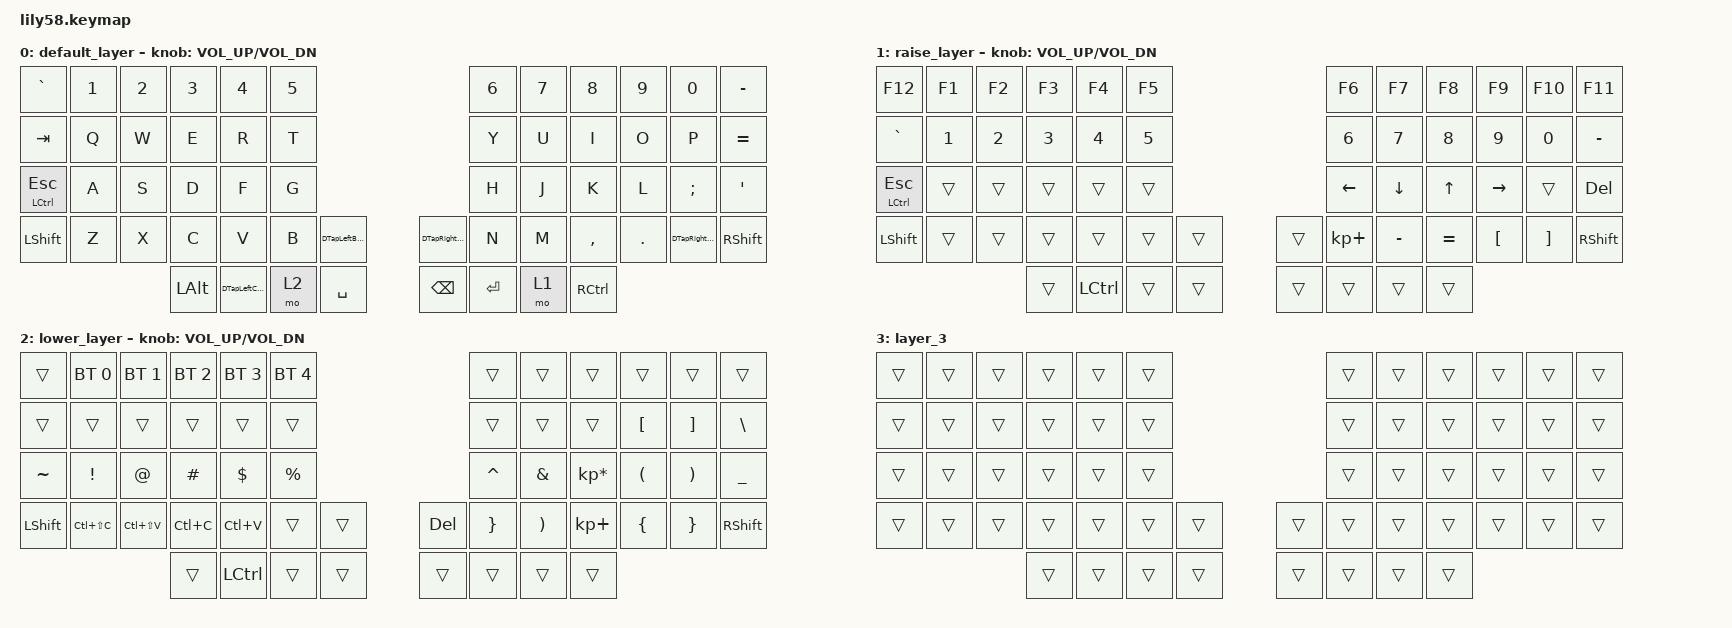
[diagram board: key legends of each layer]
/*
 * Copyright (c) 2020 The ZMK Contributors
 *
 * SPDX-License-Identifier: MIT
 */

#include <behaviors.dtsi>
#include <dt-bindings/zmk/bt.h>
#include <dt-bindings/zmk/keys.h>

/ {
    // Combo keys are a way to combine multiple keypresses to output a different key.

    combos {
        compatible = "zmk,combos";

        combo_clear_bluetooth {
            timeout-ms = <50>; // Press all the below keys within 50ms to activate mapping
            key-positions = <52 42 0>; // Press 52=LOWER, 42=[, 0=tilde
            bindings = <&bt BT_CLR>; // activate clear bluetooth bindings for current channel
        };
    };

    behaviors {
        DTapRightBrackets: DTapRightBrackets {
            compatible = "zmk,behavior-tap-dance";
            label = "DTAPRIGHTBRACKETS";
            #binding-cells = <0>;
            bindings =
                <&kp RIGHT_PARENTHESIS>,
                <&kp RIGHT_BRACE>,
                <&kp RIGHT_BRACKET>;
        };

        DTapLeftBrackets: DTapLeftBrackets {
            compatible = "zmk,behavior-tap-dance";
            label = "DTAPLEFTBRACKETS";
            #binding-cells = <0>;
            bindings =
                <&kp LEFT_PARENTHESIS>,
                <&kp LEFT_BRACE>,
                <&kp LEFT_BRACKET>;
        };

        DTapA: DTapA {
            compatible = "zmk,behavior-tap-dance";
            label = "DTAPA";
            #binding-cells = <0>;
            bindings = <&kp A>, <&mt TILDE A>;
        };

        DTapLeftCommandControl: DTapLeftCommandControl {
            compatible = "zmk,behavior-tap-dance";
            label = "DTAPLEFTCOMMANDCONTROL";
            #binding-cells = <0>;
            bindings = <&kp LGUI>, <&kp LCTRL>;
        };

        DTapRightPipe: DTapRightPipe {
            compatible = "zmk,behavior-tap-dance";
            label = "DTAPRIGHTPIPE";
            #binding-cells = <0>;
            bindings = <&kp SLASH>, <&kp QUESTION>, <&kp PIPE>;
        };

        TapDanceCtrlC: TapDanceCtrlC {
            compatible = "zmk,behavior-tap-dance";
            label = "TAPDANCECTRLC";
            #binding-cells = <0>;
            bindings = <&kp LCTRL>, <&kp LEFT_SHIFT>, <&kp C>;
        };

        TapDanceCtrlV: TapDanceCtrlV {
            compatible = "zmk,behavior-tap-dance";
            label = "TAPDANCECTRLV";
            #binding-cells = <0>;
            bindings = <&kp LCTRL>, <&kp LEFT_SHIFT>, <&kp V>;
        };
    };

    keymap {
        compatible = "zmk,keymap";

        default_layer {
            // ------------------------------------------------------------------------------------------------------------
            // |   `      |  1  |  2  |  3   |  4   |  5   |                   |  6   |  7    |  8    |  9   |   0   |   -   |
            // |  TAB     |  Q  |  W  |  E   |  R   |  T   |                   |  Y   |  U    |  I    |  O   |   P   |   =   |
            // |hCTRL tESC|  A  |  S  |  D   |  F   |  G   |                   |  H   |  J    |  K    |  L   |   ;   |   '   |
            // | SHIFT    |  Z  |  X  |  C   |  V   |  B   |   "["  |  |  "]"  |  N   |  M    |  ,    |  .   |   /   | SHIFT |
            //                        | ALT  | GUI  | LOWER|  SPACE |  | BSPC  | ENTER| RAISE | CTRL  |

            bindings = <
&kp GRAVE      &kp N1  &kp N2  &kp N3    &kp N4                   &kp N5                                           &kp N6   &kp N7  &kp N8     &kp N9   &kp N0          &kp MINUS
&kp TAB        &kp Q   &kp W   &kp E     &kp R                    &kp T                                            &kp Y    &kp U   &kp I      &kp O    &kp P           &kp EQUAL
&mt LCTRL ESC  &kp A   &kp S   &kp D     &kp F                    &kp G                                            &kp H    &kp J   &kp K      &kp L    &kp SEMI        &kp SQT
&kp LSHFT      &kp Z   &kp X   &kp C     &kp V                    &kp B   &DTapLeftBrackets    &DTapRightBrackets  &kp N    &kp M   &kp COMMA  &kp DOT  &DTapRightPipe  &kp RSHFT
                               &kp LALT  &DTapLeftCommandControl  &mo 2   &kp SPACE            &kp BSPC            &kp RET  &mo 1   &kp RCTRL
            >;

            sensor-bindings = <&inc_dec_kp C_VOL_UP C_VOL_DN>;
        };

        raise_layer {
            // ------------------------------------------------------------------------------------------------------------
            // |  F12    |  F1 |  F2 |  F3  |  F4  |  F5  |                   |  F6  |   F7  |   F8  |  F9  |  F10  |  F11  |
            // |   `     |  1  |  2  |  3   |  4   |  5   |                   |  6   |   7   |   8   |  9   |   0   |   -   |
            // |CTRL/ESC |     |     |      |      |      |                   |  <-  |   ^   |   v   |  ->  |       |       |
            // | SHIFT   |     |     |      |      |      |        |  |       |  +   |   -   |   =   |  [   |   ]   |   \   |
            //                       |      |      |      |        |  |       |      |       |       |

            bindings = <
&kp F12        &kp F1  &kp F2  &kp F3  &kp F4     &kp F5                    &kp F6       &kp F7     &kp F8     &kp F9     &kp F10   &kp F11
&kp GRAVE      &kp N1  &kp N2  &kp N3  &kp N4     &kp N5                    &kp N6       &kp N7     &kp N8     &kp N9     &kp N0    &kp MINUS
&mt LCTRL ESC  &trans  &trans  &trans  &trans     &trans                    &kp LEFT     &kp DOWN   &kp UP     &kp RIGHT  &trans    &kp DEL
&kp LSHIFT     &trans  &trans  &trans  &trans     &trans  &trans    &trans  &kp KP_PLUS  &kp MINUS  &kp EQUAL  &kp LBKT   &kp RBKT  &kp RIGHT_SHIFT
                               &trans  &kp LCTRL  &trans  &trans    &trans  &trans       &trans     &trans
            >;

            sensor-bindings = <&inc_dec_kp C_VOL_UP C_VOL_DN>;
        };

        lower_layer {
            // ------------------------------------------------------------------------------------------------------------
            // |          | BT1     | BT2    |  BT3 |  BT4  |  BT5 |                    |      |       |       |      |       |       |
            // |          |         |        |      |       |      |                    |      |       |       |  [   |   ]   |   \   |
            // |   ~      |  !      |  @     |  #   |  $    |  %   |                    |  ^   |  &    |  *    |  (   |   )   |   _   |
            // | SHIFT    |  EP_ON  | EP_OFF |      |  (    |  {   |       |  |   DEL   |  }   |  )    |  +    |  {   |   }   | SHIFT |
            //                               |      |       |      |       |  |         |      |       |       |

            bindings = <
&trans      &bt BT_SEL 0   &bt BT_SEL 1   &bt BT_SEL 2  &bt BT_SEL 3  &bt BT_SEL 4                     &trans     &trans    &trans           &trans    &trans    &trans
&trans      &trans         &trans         &trans        &trans        &trans                           &trans     &trans    &trans           &kp LBKT  &kp RBKT  &kp BSLH
&kp TILDE   &kp EXCL       &kp AT         &kp HASH      &kp DOLLAR    &kp PRCNT                        &kp CARET  &kp AMPS  &kp KP_MULTIPLY  &kp LPAR  &kp RPAR  &kp UNDER
&kp LSHIFT  &kp LC(LS(C))  &kp LC(LS(V))  &kp LC(C)     &kp LC(V)     &trans        &trans    &kp DEL  &kp RBRC   &kp RPAR  &kp KP_PLUS      &kp LBRC  &kp RBRC  &kp RSHFT
                                          &trans        &kp LCTRL     &trans        &trans    &trans   &trans     &trans    &trans
            >;

            sensor-bindings = <&inc_dec_kp C_VOL_UP C_VOL_DN>;
        };

        layer_3 {
            bindings = <
&trans  &trans  &trans  &trans  &trans  &trans                    &trans  &trans  &trans  &trans  &trans  &trans
&trans  &trans  &trans  &trans  &trans  &trans                    &trans  &trans  &trans  &trans  &trans  &trans
&trans  &trans  &trans  &trans  &trans  &trans                    &trans  &trans  &trans  &trans  &trans  &trans
&trans  &trans  &trans  &trans  &trans  &trans  &trans    &trans  &trans  &trans  &trans  &trans  &trans  &trans
                        &trans  &trans  &trans  &trans    &trans  &trans  &trans  &trans
            >;
        };
    };
};
